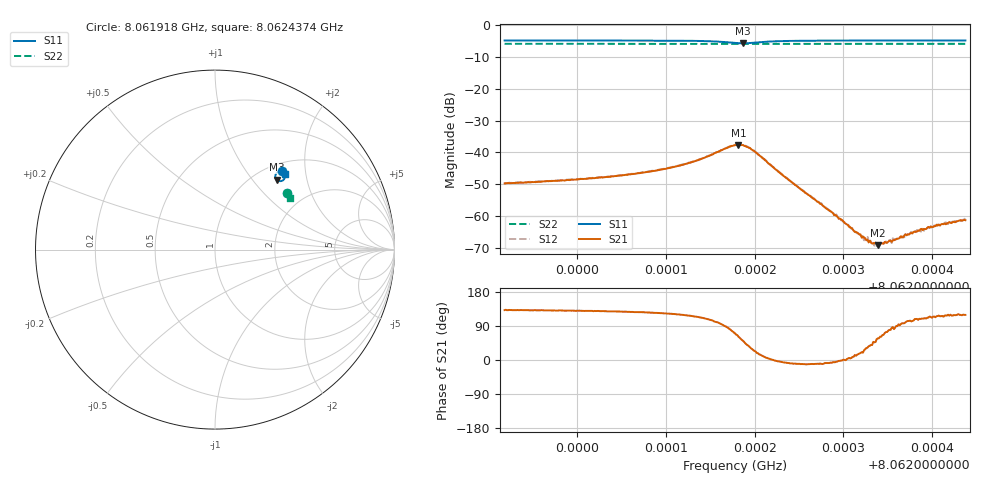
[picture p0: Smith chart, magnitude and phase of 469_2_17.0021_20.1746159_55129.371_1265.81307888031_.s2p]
#  HZ  S  RI  R  50.00
! Rohde & Schwarz Vector Network Analyzer
! Rohde-Schwarz,ZNB20-2Port,1311601062101988,3.16
! Created: UTC 3/20/2024, 11:13:06 PM
! freq[Hz]  re:S11  im:S11  re:S21  im:S21  re:S12  im:S12  re:S22  im:S22
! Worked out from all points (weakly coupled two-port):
!   401 points, 8.061918 GHz to 8.0624374 GHz, reference 50 ohm
!   highest |S21| = -37.69 dB at 8.0621816 GHz (marker M1); lowest = -69.4 dB at 8.0623387 GHz (marker M2)
!   lowest |S11| = -5.7 dB at 8.0621868 GHz (marker M3), VSWR 3.16, Z = 62.8 + j66.9 ohm
!   |S11| at or under -10 dB: nowhere
!   |S22| runs from -5.9 to -5.8 dB; largest |S21 - S12| = 0.00095
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8.06191797e9  0.3716 0.4401  -0.00215 0.00241  -0.00202 0.00256  0.4007 0.316
8.06200498e9  0.3782 0.4341  -0.00243 0.00291  -0.00227 0.00304  0.4041 0.3116
8.06204524e9  0.3815 0.4304  -0.00262 0.00337  -0.00242 0.00351  0.4056 0.3097
8.06209199e9  0.3861 0.424  -0.00293 0.00435  -0.00271 0.00459  0.4072 0.3071
8.06213225e9  0.3901 0.4123  -0.00303 0.00655  -0.00266 0.00679  0.4087 0.3047
8.06215952e9  0.386 0.3939  -0.00139 0.0102  -0.00085 0.0103  0.4091 0.3024
8.0621777e9  0.3624 0.3812  0.00438 0.0121  0.00514 0.0121  0.4085 0.3014
8.0621816e9  0.3541 0.3828  0.00624 0.0115  0.00681 0.0112  0.4082 0.3013
8.06218679e9  0.3444 0.3888  0.00829 0.01  0.00896 0.00947  0.4081 0.3016
8.06219978e9  0.3365 0.4133  0.00945 0.00416  0.00976 0.00358  0.4085 0.3021
8.06223224e9  0.359 0.4353  0.00424 -0.000468  0.00422 -0.000713  0.411 0.3011
8.06226471e9  0.3712 0.4345  0.00189 -0.000345  0.00188 -0.00051  0.4126 0.2994
8.06232315e9  0.3814 0.4301  0.000411 0.000196  0.000389 0.000132  0.4148 0.2963
8.06232834e9  0.3819 0.4299  0.000308 0.000224  0.000352 0.000229  0.4151 0.296
8.06233484e9  0.3828 0.4294  0.000254 0.000269  0.000241 0.000238  0.4154 0.2958
8.06233873e9  0.3832 0.4291  0.000185 0.000286  0.000235 0.000245  0.4156 0.2956
8.06235172e9  0.3846 0.4282  7.34e-05 0.000396  0.000104 0.0004  0.416 0.2949
8.06237769e9  0.3869 0.4265  -0.000119 0.000512  -9.28e-05 0.000542  0.4169 0.2933
8.06238938e9  0.388 0.4257  -0.000197 0.000562  -0.00018 0.000598  0.4173 0.2929
8.06239717e9  0.3886 0.4253  -0.00027 0.000586  -0.000229 0.000618  0.4175 0.2924
8.06243224e9  0.3913 0.423  -0.000413 0.000747  -0.000385 0.000759  0.4188 0.2906
8.06243743e9  0.3916 0.4227  -0.000413 0.000745  -0.000411 0.000818  0.419 0.2902
